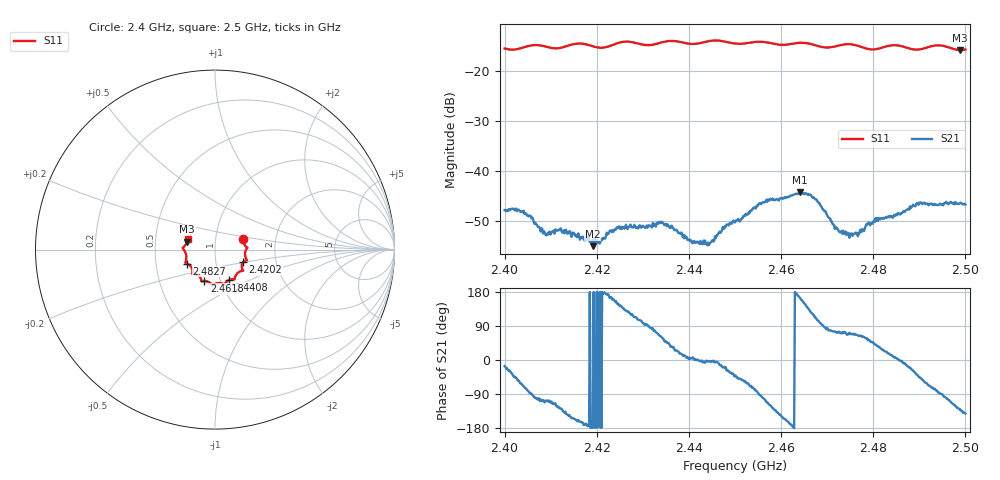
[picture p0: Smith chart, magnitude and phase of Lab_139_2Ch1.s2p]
# Hz S RI R 50
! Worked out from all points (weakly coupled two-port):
!   601 points, 2.4 GHz to 2.5 GHz, reference 50 ohm
!   highest |S21| = -44.21 dB at 2.464 GHz (marker M1); lowest = -55.0 dB at 2.4192 GHz (marker M2)
!   lowest |S11| = -15.8 dB at 2.4988 GHz (marker M3), VSWR 1.39, Z = 36.4 + j3.34 ohm
!   |S11| at or under -10 dB: start of sweep to end of sweep
!   S12 and S22 are empty: the file has one direction only
!   S11 on the Smith chart (normalised r, x): 2.4 GHz: 1.36, +0.17; 2.4202 GHz: 1.36, -0.20; 2.4408 GHz: 1.10, -0.39; 2.4618 GHz: 0.84, -0.30; 2.4827 GHz: 0.72, -0.12; 2.5 GHz: 0.73, +0.09
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2.4e9  0.1561 0.0618  0.00393 -0.00114  0 0  0 0
2.404167e9  0.1716 0.0179  0.00144 -0.00377  0 0  0 0
2.408833e9  0.1755 0.00372  -0.000687 -0.00224  0 0  0 0
2.416667e9  0.1781 -0.0594  -0.00211 -0.000636  0 0  0 0
2.419167e9  0.1641 -0.0644  -0.00179 -8.04e-05  0 0  0 0
2.420167e9  0.1567 -0.0706  -0.00204 -7.79e-05  0 0  0 0
2.424333e9  0.153 -0.1099  -0.00237 0.00141  0 0  0 0
2.433333e9  0.1118 -0.152  0.00113 0.00289  0 0  0 0
2.440833e9  0.0789 -0.1688  0.0019 0.000233  0 0  0 0
2.444333e9  0.0549 -0.1909  0.00183 -0.000109  0 0  0 0
2.45e9  0.0279 -0.186  0.00233 -0.00202  0 0  0 0
2.455667e9  -0.0136 -0.1956  -0.000427 -0.00468  0 0  0 0
2.461833e9  -0.0602 -0.1751  -0.00547 -0.00118  0 0  0 0
2.464e9  -0.0733 -0.1764  -0.00595 0.00157  0 0  0 0
2.466667e9  -0.0769 -0.1684  -0.00307 0.0047  0 0  0 0
2.472167e9  -0.1158 -0.135  0.000785 0.00258  0 0  0 0
2.474333e9  -0.1263 -0.1353  0.000972 0.00223  0 0  0 0
2.482667e9  -0.1572 -0.0778  0.00321 0.00131  0 0  0 0
2.483333e9  -0.1612 -0.0763  0.0034 0.00106  0 0  0 0
2.49e9  -0.1627 -0.0227  0.00338 -0.00351  0 0  0 0
2.498833e9  -0.1551 0.0447  -0.00323 -0.00358  0 0  0 0
2.5e9  -0.1519 0.0615  -0.00363 -0.0029  0 0  0 0
